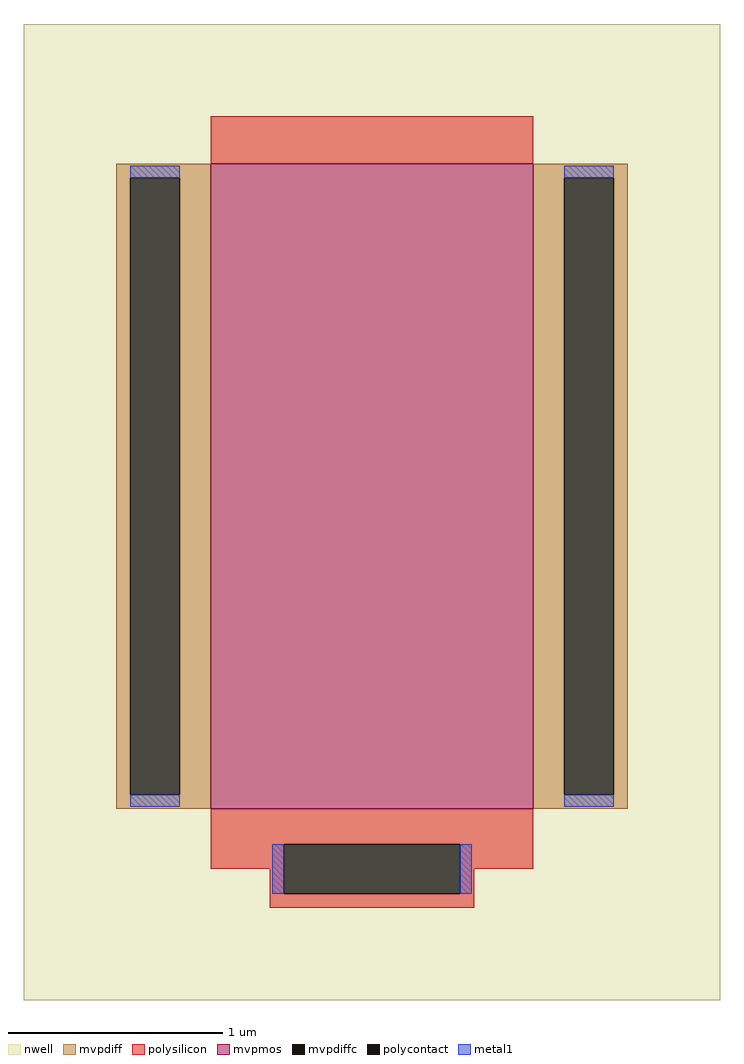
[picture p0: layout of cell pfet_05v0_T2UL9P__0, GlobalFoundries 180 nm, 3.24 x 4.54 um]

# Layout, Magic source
magic
tech gf180mcuD
magscale 1 10
<< nwell >>
rect -324 -454 324 454
<< mvpmos >>
rect -150 -276 150 324
<< mvpdiff >>
rect -238 311 -150 324
rect -238 -263 -225 311
rect -179 -263 -150 311
rect -238 -276 -150 -263
rect 150 311 238 324
rect 150 -263 179 311
rect 225 -263 238 311
rect 150 -276 238 -263
<< mvpdiffc >>
rect -225 -263 -179 311
rect 179 -263 225 311
<< polysilicon >>
rect -150 324 150 368
rect -150 -309 150 -276
rect -150 -332 -82 -309
rect -95 -355 -82 -332
rect 82 -332 150 -309
rect 82 -355 95 -332
rect -95 -368 95 -355
<< polycontact >>
rect -82 -355 82 -309
<< metal1 >>
rect -225 311 -179 322
rect -225 -274 -179 -263
rect 179 311 225 322
rect 179 -274 225 -263
rect -93 -355 -82 -309
rect 82 -355 93 -309
<< properties >>
string gencell pfet_05v0
string library gf180mcu
string parameters w 3 l 1.5 m 1 nf 1 diffcov 100 polycov 60 guard 0 glc 1 grc 1 gtc 0 gbc 0 tbcov 100 rlcov 100 topc 0 botc 1 poverlap 0 doverlap 1 lmin 0.5 wmin 0.3 class mosfet full_metal 1 compatible {pfet_03v3 pfet_05v0 pfet_06v0}
<< end >>
